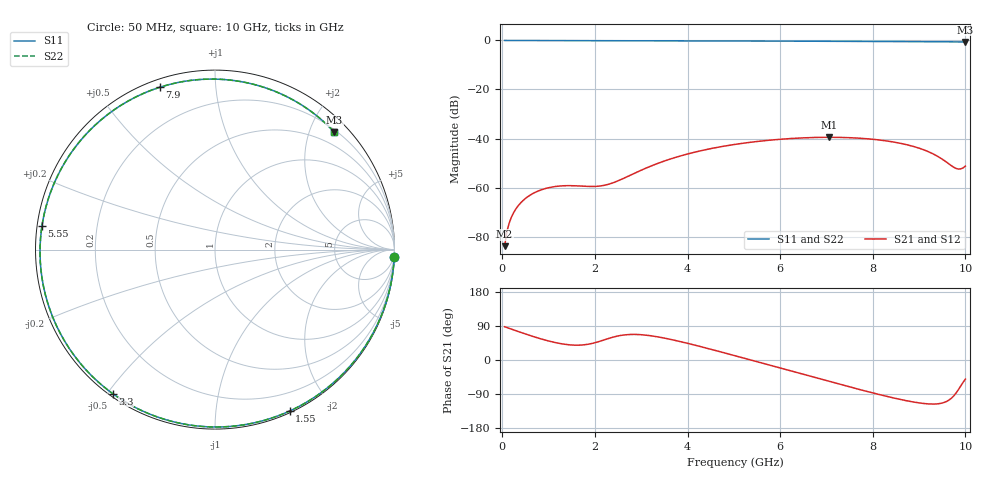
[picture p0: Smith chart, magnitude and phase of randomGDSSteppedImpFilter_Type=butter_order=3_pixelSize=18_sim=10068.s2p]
! freq	dB(S11)	phase(S11)	dB(S12)	phase(S12)
!  dB(S21)	phase(S21)	dB(S22)	phase(S22)
!S-par simulation data
#  GHz  S  DB  R 50
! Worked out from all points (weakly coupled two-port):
!   200 points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, 50 MHz to 10 GHz, reference 50 ohm
!   highest |S21| = -39.51 dB at 7.05 GHz (marker M1); lowest = -83.9 dB at 50 MHz (marker M2)
!   lowest |S11| = -0.6 dB at 10 GHz (marker M3), VSWR 28.80, Z = 12 + j121 ohm
!   |S11| at or under -10 dB: nowhere
!   |S22| runs from -0.6 to 0.0 dB; largest |S21 - S12| = 0
!   S11 on the Smith chart (normalised r, x): 50 MHz: 0, -51; 1.55 GHz: 0.02, -1.56; 3.3 GHz: 0.01, -0.52; 5.55 GHz: 0.01, +0.07; 7.9 GHz: 0.03, +0.72; 10 GHz: 0.24, +2.42
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0.05  -0.00 -2.2  -83.92 87.8  -83.92 87.8  -0.00 -2.2
0.25  -0.01 -11.0  -70.07 79.1  -70.07 79.1  -0.01 -11.0
0.4  -0.02 -17.5  -66.20 72.8  -66.20 72.8  -0.02 -17.5
0.55  -0.03 -24.0  -63.74 66.6  -63.74 66.6  -0.03 -24.0
1  -0.05 -43.1  -60.08 50.2  -60.08 50.2  -0.05 -43.1
1.55  -0.08 -65.2  -59.27 39.2  -59.27 39.2  -0.08 -65.2
1.75  -0.09 -72.9  -59.46 39.9  -59.46 39.9  -0.09 -72.9
2.3  -0.10 -92.8  -58.64 57.0  -58.64 57.0  -0.10 -92.8
2.75  -0.12 -108.0  -55.10 67.3  -55.10 67.3  -0.12 -108.0
3.3  -0.14 -125.4  -50.56 62.2  -50.56 62.2  -0.14 -125.4
3.4  -0.14 -128.4  -49.85 60.1  -49.85 60.1  -0.14 -128.4
4.2  -0.17 -151.5  -45.37 37.9  -45.37 37.9  -0.17 -151.5
5.05  -0.21 -174.5  -42.33 10.5  -42.33 10.5  -0.21 -174.5
5.55  -0.24 172.3  -41.11 -6.1  -41.11 -6.1  -0.24 172.3
6.7  -0.31 141.9  -39.60 -44.5  -39.60 -44.5  -0.31 142.0
7.05  -0.33 132.5  -39.51 -56.2  -39.51 -56.2  -0.33 132.5
7.9  -0.40 108.7  -40.14 -83.8  -40.14 -83.8  -0.40 108.8
8.35  -0.43 95.6  -41.13 -97.3  -41.13 -97.3  -0.43 95.7
9.15  -0.50 71.4  -44.97 -115.4  -44.97 -115.4  -0.50 71.4
9.8  -0.58 50.9  -52.22 -86.9  -52.22 -86.9  -0.58 50.9
9.9  -0.59 47.7  -52.40 -68.5  -52.40 -68.5  -0.59 47.7
10  -0.60 44.5  -51.24 -50.5  -51.24 -50.5  -0.60 44.5
